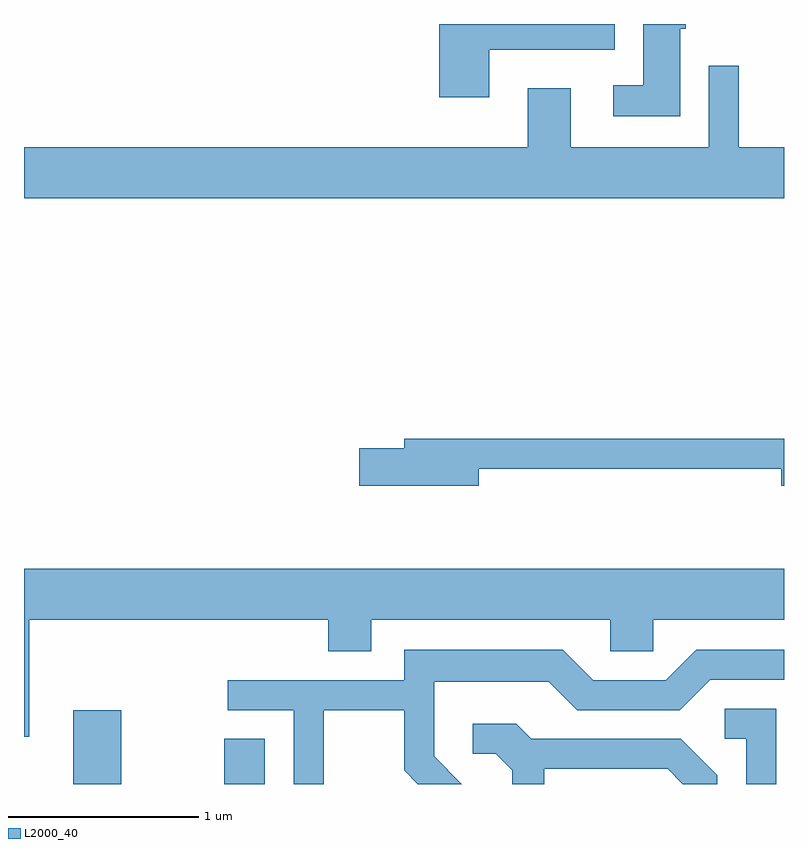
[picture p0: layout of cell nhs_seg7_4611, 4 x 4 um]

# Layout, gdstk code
import gdstk
lib = gdstk.Library(unit=1e-6, precision=1e-09)
def R(c, l, rs):  # rectangles x0, y0, x1, y1
    for r in rs: c.add(gdstk.rectangle(r[:2], r[2:], *l))
def P(c, l, *ps):  # polygons
    for p in ps: c.add(gdstk.Polygon(p, *l))
L2000_40 = (2000, 40)

nhs_seg7_4611 = lib.new_cell('nhs_seg7_4611')
R(nhs_seg7_4611, L2000_40, [(325.871,1802.252,326.124,1802.639), (326.666,1802.252,326.879,1802.489)])
P(nhs_seg7_4611, L2000_40, [(328.059,1806.116),(328.719,1806.116),(328.719,1806.252),(327.796,1806.252),(327.796,1805.866),(328.059,1805.866)],
  [(329.064,1806.226),(329.094,1806.226),(329.094,1806.252),(328.871,1806.252),(328.871,1805.929),(328.713,1805.929),(328.713,1805.766),(329.064,1805.766)],
  [(329.611,1805.604),(329.374,1805.604),(329.374,1806.033),(329.216,1806.033),(329.216,1805.604),(328.489,1805.604),(328.489,1805.914),(328.261,1805.914),(328.261,1805.604),(325.611,1805.604),(325.611,1805.336),(329.611,1805.336)],
  [(328.004,1803.911),(329.596,1803.911),(329.596,1803.821),(329.611,1803.821),(329.611,1804.069),(327.611,1804.069),(327.611,1804.019),(327.376,1804.019),(327.376,1803.821),(328.004,1803.821)],
  [(325.639,1803.116),(327.211,1803.116),(327.211,1802.951),(327.439,1802.951),(327.439,1803.116),(328.696,1803.116),(328.696,1802.951),(328.924,1802.951),(328.924,1803.116),(329.611,1803.116),(329.611,1803.384),(325.611,1803.384),(325.611,1802.501),(325.639,1802.501)],
  [(327.189,1802.641),(327.611,1802.641),(327.611,1802.324),(327.683,1802.252),(327.914,1802.252),(327.769,1802.397),(327.769,1802.791),(328.374,1802.791),(328.524,1802.641),(329.062,1802.641),(329.222,1802.801),(329.611,1802.801),(329.611,1802.959),(329.149,1802.959),(328.989,1802.799),(328.607,1802.799),(328.447,1802.959),(327.611,1802.959),(327.611,1802.799),(326.683,1802.799),(326.683,1802.641),(327.031,1802.641),(327.031,1802.252),(327.189,1802.252)],
  [(329.569,1802.649),(329.298,1802.649),(329.298,1802.491),(329.411,1802.491),(329.411,1802.252),(329.569,1802.252)],
  [(328.349,1802.331),(328.999,1802.331),(329.078,1802.252),(329.259,1802.252),(329.259,1802.297),(329.067,1802.489),(328.282,1802.489),(328.202,1802.569),(327.973,1802.569),(327.973,1802.411),(328.094,1802.411),(328.181,1802.324),(328.181,1802.252),(328.349,1802.252)])

lib.write_gds('nhs_seg7_4611.gds')
